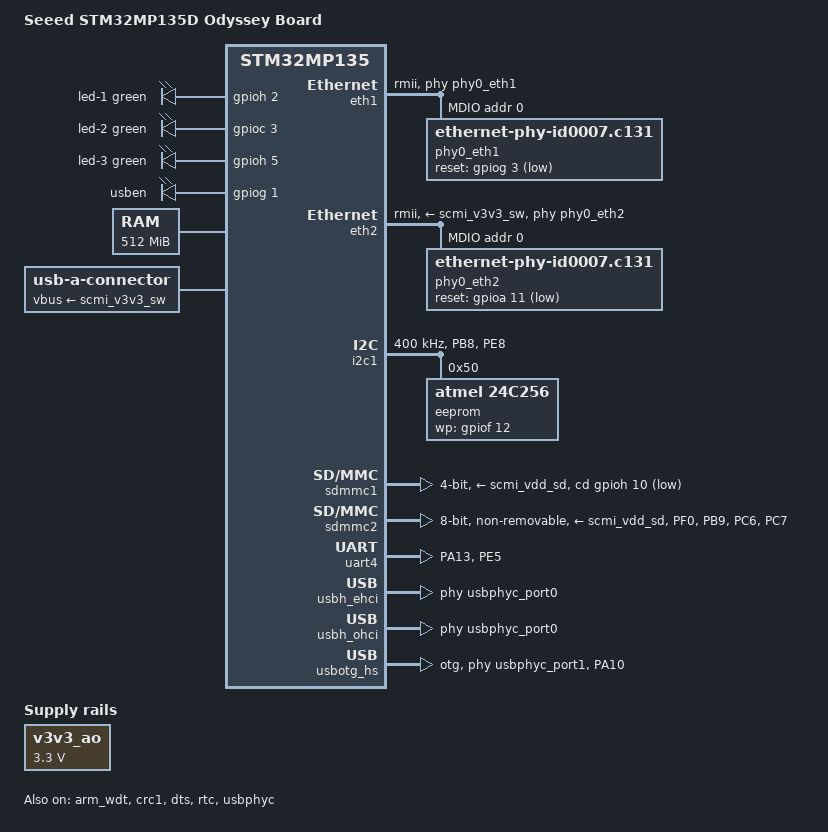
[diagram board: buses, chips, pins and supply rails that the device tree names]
// SPDX-License-Identifier: (GPL-2.0+ OR BSD-3-Clause)
/*
 * Copyright (C) STMicroelectronics 2021 - All Rights Reserved
 * Author: Alexandre Torgue <alexandre.torgue@foss.st.com> for STMicroelectronics.
 * Copyright (C) 2023 Casey Reeves <casey@xogium.me>
 */

/dts-v1/;

#include <dt-bindings/gpio/gpio.h>
#include <dt-bindings/input/input.h>
#include <dt-bindings/leds/common.h>
#include <dt-bindings/regulator/st,stm32mp13-regulator.h>
#include <dt-bindings/rtc/rtc-stm32.h>
#include "stm32mp135.dtsi"
#include "stm32mp13xd.dtsi"
#include "stm32mp13-pinctrl.dtsi"

/ {
	model = "Seeed STM32MP135D Odyssey Board";
	compatible = "st,stm32mp135d-odyssey", "st,stm32mp135f-dk", "st,stm32mp135";

	aliases {
		ethernet0 = &eth1;
		ethernet1 = &eth2;
		mmc0 = &sdmmc1;
		mmc1 = &sdmmc2;
		serial0 = &uart4;
		serial1 = &usart2;
	};

	chosen {
		stdout-path = "serial0:115200n8";
		#address-cells = <1>;
		#size-cells = <1>;
		ranges;
};

	leds {
		compatible = "gpio-leds";

		led-1 {
			function = LED_FUNCTION_HEARTBEAT;
			color = <LED_COLOR_ID_GREEN>;
			gpios = <&gpioh 2 GPIO_ACTIVE_HIGH>;
			linux,default-trigger = "heartbeat";
			default-state = "off";
		};

		led-2 {
			function = LED_FUNCTION_DISK_READ;
			color = <LED_COLOR_ID_GREEN>;
			gpios = <&gpioc 3 GPIO_ACTIVE_HIGH>;
			linux,default-trigger = "mmc0";
			default-state = "off";
		};

		led-3 {
			function = LED_FUNCTION_DISK_WRITE;
			color = <LED_COLOR_ID_GREEN>;
			gpios = <&gpioh 5 GPIO_ACTIVE_HIGH>;
			linux,default-trigger = "mmc0";
			default-state = "off";
		};

		usben {
			label = "usben";
			gpios = <&gpiog  1  GPIO_ACTIVE_HIGH>;
			linux,default-trigger = "usben";
			default-state = "on";
		};
	};

	memory@c0000000 {
		device_type = "memory";
		reg = <0xc0000000 0x20000000>;
	};

	reserved-memory {
		#address-cells = <1>;
		#size-cells = <1>;
		ranges;

		optee@dd000000 {
			reg = <0xdd000000 0x3000000>;
			no-map;
		};
	};

	v3v3_ao: v3v3_ao {
		compatible = "regulator-fixed";
		regulator-name = "v3v3_ao";
		regulator-min-microvolt = <3300000>;
		regulator-max-microvolt = <3300000>;
		regulator-always-on;
	};
};

&arm_wdt {
	timeout-sec = <32>;
	status = "okay";
};

&crc1 {
	status = "okay";
};

&dts {
	status = "okay";
};

&eth1 {
	status = "okay";
	pinctrl-0 = <&eth1_rmii_pins_a>;
	pinctrl-1 = <&eth1_rmii_sleep_pins_a>;
	pinctrl-names = "default", "sleep";
	phy-mode = "rmii";
	max-speed = <100>;
	phy-handle = <&phy0_eth1>;
	// if mac in OTP, uncomment the following
	// nvmem-cells = <&ethernet_mac1_address>;
	nvmem-cells = <&eth1_mac_addr>;
	nvmem-cell-names = "mac-address";

	mdio1 {
		#address-cells = <1>;
		#size-cells = <0>;
		compatible = "snps,dwmac-mdio";

		phy0_eth1: ethernet-phy@0 {
			compatible = "ethernet-phy-id0007.c131";
			reset-gpios = <&gpiog 3 (GPIO_ACTIVE_LOW | GPIO_PULL_UP)>;
			reset-assert-us = <10000>;
			reset-deassert-us = <80000>;
			reg = <0>;
			wakeup-source;
		};
	};
};

&eth2 {
	status = "okay";
	pinctrl-0 = <&eth2_rmii_pins_a>;
	pinctrl-1 = <&eth2_rmii_sleep_pins_a>;
	pinctrl-names = "default", "sleep";
	phy-mode = "rmii";
	max-speed = <100>;
	phy-handle = <&phy0_eth2>;
	st,ext-phyclk;
	phy-supply = <&scmi_v3v3_sw>;
	// if mac in OTP, uncomment the following
	// nvmem-cells = <&ethernet_mac2_address>;
	nvmem-cells = <&eth2_mac_addr>;
	nvmem-cell-names = "mac-address";

	mdio1 {
		#address-cells = <1>;
		#size-cells = <0>;
		compatible = "snps,dwmac-mdio";

		phy0_eth2: ethernet-phy@0 {
			compatible = "ethernet-phy-id0007.c131";
			reset-gpios = <&gpioa 11 (GPIO_ACTIVE_LOW | GPIO_PULL_UP)>;
			reset-assert-us = <10000>;
			reset-deassert-us = <80000>;
			reg = <0>;
		};
	};
};

&i2c1 {
	pinctrl-names = "default", "sleep";
	pinctrl-0 = <&i2c1_pins_b>;
	pinctrl-1 = <&i2c1_sleep_pins_b>;
	i2c-scl-rising-time-ns = <300>;
	i2c-scl-falling-time-ns = <300>;
	clock-frequency = <400000>;
	status = "okay";
	/* spare dmas for other usage */
	/delete-property/dmas;
	/delete-property/dma-names;

	eeprom@50 {
		compatible = "atmel,24c256";
		reg = <0x50>;
		pagesize = <64>;
		wp-gpios = <&gpiof 12 GPIO_ACTIVE_HIGH>;
		#address-cells = <1>;
		#size-cells = <1>;

		eth1_mac_addr: mac1@0 {
			reg = <0x0 0x6>;
		};

		eth2_mac_addr: mac2@0x10 {
			reg = <0x10 0x6>;
		};
	};
};


&qspi {
	status = "disabled";
};

&rtc {
	status = "okay";
};

&sai1 {
	status = "disabled";
};

&scmi_regu {
	scmi_vddcpu: voltd-vddcpu {
		reg = <VOLTD_SCMI_STPMIC1_BUCK1>;
		regulator-name = "vddcpu";
	};
	scmi_vdd: voltd-vdd {
		reg = <VOLTD_SCMI_STPMIC1_BUCK3>;
		regulator-name = "vdd";
	};
	scmi_vddcore: voltd-vddcore {
		reg = <VOLTD_SCMI_STPMIC1_BUCK4>;
		regulator-name = "vddcore";
	};
	scmi_adc_v1v8: voltd-adc-v1v8 {
		reg = <VOLTD_SCMI_STPMIC1_LDO1>;
		regulator-name = "adc_v1v8";
	};
	scmi_vdd_usb: voltd-vdd-usb {
		reg = <VOLTD_SCMI_STPMIC1_LDO4>;
		regulator-name = "vdd_usb";
	};
	scmi_vdd_sd: voltd-vdd-sd {
		reg = <VOLTD_SCMI_STPMIC1_LDO5>;
		regulator-name = "vdd_sd";
	};
	scmi_v1v8_periph: voltd-v1v8-periph {
		reg = <VOLTD_SCMI_STPMIC1_LDO6>;
		regulator-name = "v1v8_periph";
	};
	scmi_v3v3_sw: voltd-v3v3-sw {
		reg = <VOLTD_SCMI_STPMIC1_PWR_SW2>;
		regulator-name = "v3v3_sw";
	};
};

&sdmmc1 {
	pinctrl-names = "default", "opendrain", "sleep";
	pinctrl-0 = <&sdmmc1_b4_pins_a &sdmmc1_clk_pins_a>;
	pinctrl-1 = <&sdmmc1_b4_od_pins_a &sdmmc1_clk_pins_a>;
	pinctrl-2 = <&sdmmc1_b4_sleep_pins_a>;
	cd-gpios = <&gpioh 10 (GPIO_ACTIVE_LOW | GPIO_PULL_UP)>;
	disable-wp;
	st,neg-edge;
	bus-width = <4>;
	vmmc-supply = <&scmi_vdd_sd>;
	status = "okay";
};

&sdmmc2 {
	pinctrl-names = "default", "opendrain", "sleep";
	pinctrl-0 = <&sdmmc2_b4_pins_a &sdmmc2_clk_pins_a &sdmmc2_d47_pins_a>;
	pinctrl-1 = <&sdmmc2_b4_od_pins_a &sdmmc2_clk_pins_a &sdmmc2_d47_pins_a>;
	pinctrl-2 = <&sdmmc2_b4_sleep_pins_a &sdmmc2_d47_sleep_pins_a>;

	non-removable;
	st,neg-edge;
	bus-width = <8>;
	vmmc-supply = <&scmi_vdd_sd>;
	vqmmc-supply = <&scmi_vdd_sd>;

	no-sd;
	no-sdio;
	mmc-ddr-3_3v;
	no-1-8-v;
	status = "okay";
};

&spi5 {
	status = "disabled";
};

&timers2 {
	status = "disabled";
};

&timers3 {
	status = "disabled";
};

&timers5 {
	status = "disabled";
};

&uart4 {
	pinctrl-names = "default", "sleep", "idle";
	pinctrl-0 = <&uart4_pins_b>;
	pinctrl-1 = <&uart4_sleep_pins_b>;
	pinctrl-2 = <&uart4_idle_pins_b>;
	/delete-property/dmas;
	/delete-property/dma-names;
	status = "okay";
};

&usart2 {
	status = "disabled";
};

&usbh_ehci {
	phys = <&usbphyc_port0>;
	status = "okay";
};

&usbh_ohci{
	status = "okay";
	phys = <&usbphyc_port0>;
};

&usbotg_hs {
	pinctrl-0 = <&usbotg_hs_pins_a>;
	pinctrl-names = "default";
	phys = <&usbphyc_port1 0>;
	phy-names = "usb2-phy";
	dr_mode = "otg";
	usb-role-switch;
	status = "okay";
	/* port {
		usbotg_hs_ep: endpoint {
			remote-endpoint = <&con_usb_c_g0_ep>;
		};
	}; */
};

&usbphyc {
	status = "okay";
};

&usbphyc_port0 {
	phy-supply = <&scmi_vdd_usb>;
	st,current-boost-microamp = <1000>;
	st,decrease-hs-slew-rate;
	st,tune-hs-dc-level = <2>;
	st,enable-hs-rftime-reduction;
	st,trim-hs-current = <11>;
	st,trim-hs-impedance = <2>;
	st,tune-squelch-level = <1>;
	st,enable-hs-rx-gain-eq;
	st,no-hs-ftime-ctrl;
	st,no-lsfs-sc;

	/*
	 * Hack to keep hub active if wakeup source is enabled
	 * otherwise the hub will wakeup the port0 as soon as the v3v3_sw is disabled
	 */
	connector {
		compatible = "usb-a-connector";
		vbus-supply = <&scmi_v3v3_sw>;
	};
};

&usbphyc_port1 {
	phy-supply = <&scmi_vdd_usb>;
	st,current-boost-microamp = <1000>;
	st,decrease-hs-slew-rate;
	st,tune-hs-dc-level = <2>;
	st,enable-hs-rftime-reduction;
	st,trim-hs-current = <11>;
	st,trim-hs-impedance = <2>;
	st,tune-squelch-level = <1>;
	st,enable-hs-rx-gain-eq;
	st,no-hs-ftime-ctrl;
	st,no-lsfs-sc;
};

&pinctrl {
	/* i2c1 */
	i2c1_pins_b: i2c1-0 {
		pins {
			pinmux = <STM32_PINMUX('B', 8, AF4)>, /* I2C1_SCL */
				 <STM32_PINMUX('E', 8, AF5)>; /* I2C1_SDA */
			bias-disable;
			drive-open-drain;
			slew-rate = <0>;
		};
	};

	i2c1_sleep_pins_b: i2c1-sleep-0 {
		pins {
			pinmux = <STM32_PINMUX('B', 8, ANALOG)>, /* I2C1_SCL */
				 <STM32_PINMUX('E', 8, ANALOG)>; /* I2C1_SDA */
		};
	};

	/* sdmmc2_d47 */
	sdmmc2_d47_pins_a: sdmmc2-d47-0 {
		pins {
			pinmux = <STM32_PINMUX('F', 0, AF10)>, /* SDMMC2_D4 */
				 <STM32_PINMUX('B', 9, AF10)>, /* SDMMC2_D5 */
				 <STM32_PINMUX('C', 6, AF10)>, /* SDMMC2_D6 */
				 <STM32_PINMUX('C', 7, AF10)>; /* SDMMC2_D7 */
			slew-rate = <1>;
			drive-push-pull;
			bias-pull-up;
		};
	};

	sdmmc2_d47_sleep_pins_a: sdmmc2-d47-sleep-0 {
		pins {
			pinmux = <STM32_PINMUX('F', 0, ANALOG)>, /* SDMMC2_D4 */
				 <STM32_PINMUX('B', 9, ANALOG)>, /* SDMMC2_D5 */
				 <STM32_PINMUX('C', 6, ANALOG)>, /* SDMMC2_D6 */
				 <STM32_PINMUX('C', 7, ANALOG)>; /* SDMMC2_D7 */
		};
	};

	/* uart4 */
	uart4_pins_b: uart4-0 {
		pins1 {
			pinmux = <STM32_PINMUX('A', 13, AF8)>; /* UART4_TX */
			bias-disable;
			drive-push-pull;
			slew-rate = <0>;
		};
		pins2 {
			pinmux = <STM32_PINMUX('E', 5, AF8)>; /* UART4_RX */
			bias-disable;
		};
	};

	uart4_idle_pins_b: uart4-idle-0 {
		pins1 {
			pinmux = <STM32_PINMUX('A', 13, ANALOG)>; /* UART4_TX */
		};
		pins2 {
			pinmux = <STM32_PINMUX('E', 5, AF8)>; /* UART4_RX */
			bias-disable;
		};
	};

	uart4_sleep_pins_b: uart4-sleep-0 {
		pins {
			pinmux = <STM32_PINMUX('A', 13, ANALOG)>, /* UART4_TX */
				 <STM32_PINMUX('E', 5, ANALOG)>; /* UART4_RX */
		};
	};

	usbotg_hs_pins_a: usbotg-hs-0 {
		pins {
			pinmux = <STM32_PINMUX('A', 10, ANALOG)>; /* OTG_ID */
			bias-pull-down;
		};
	};
};
